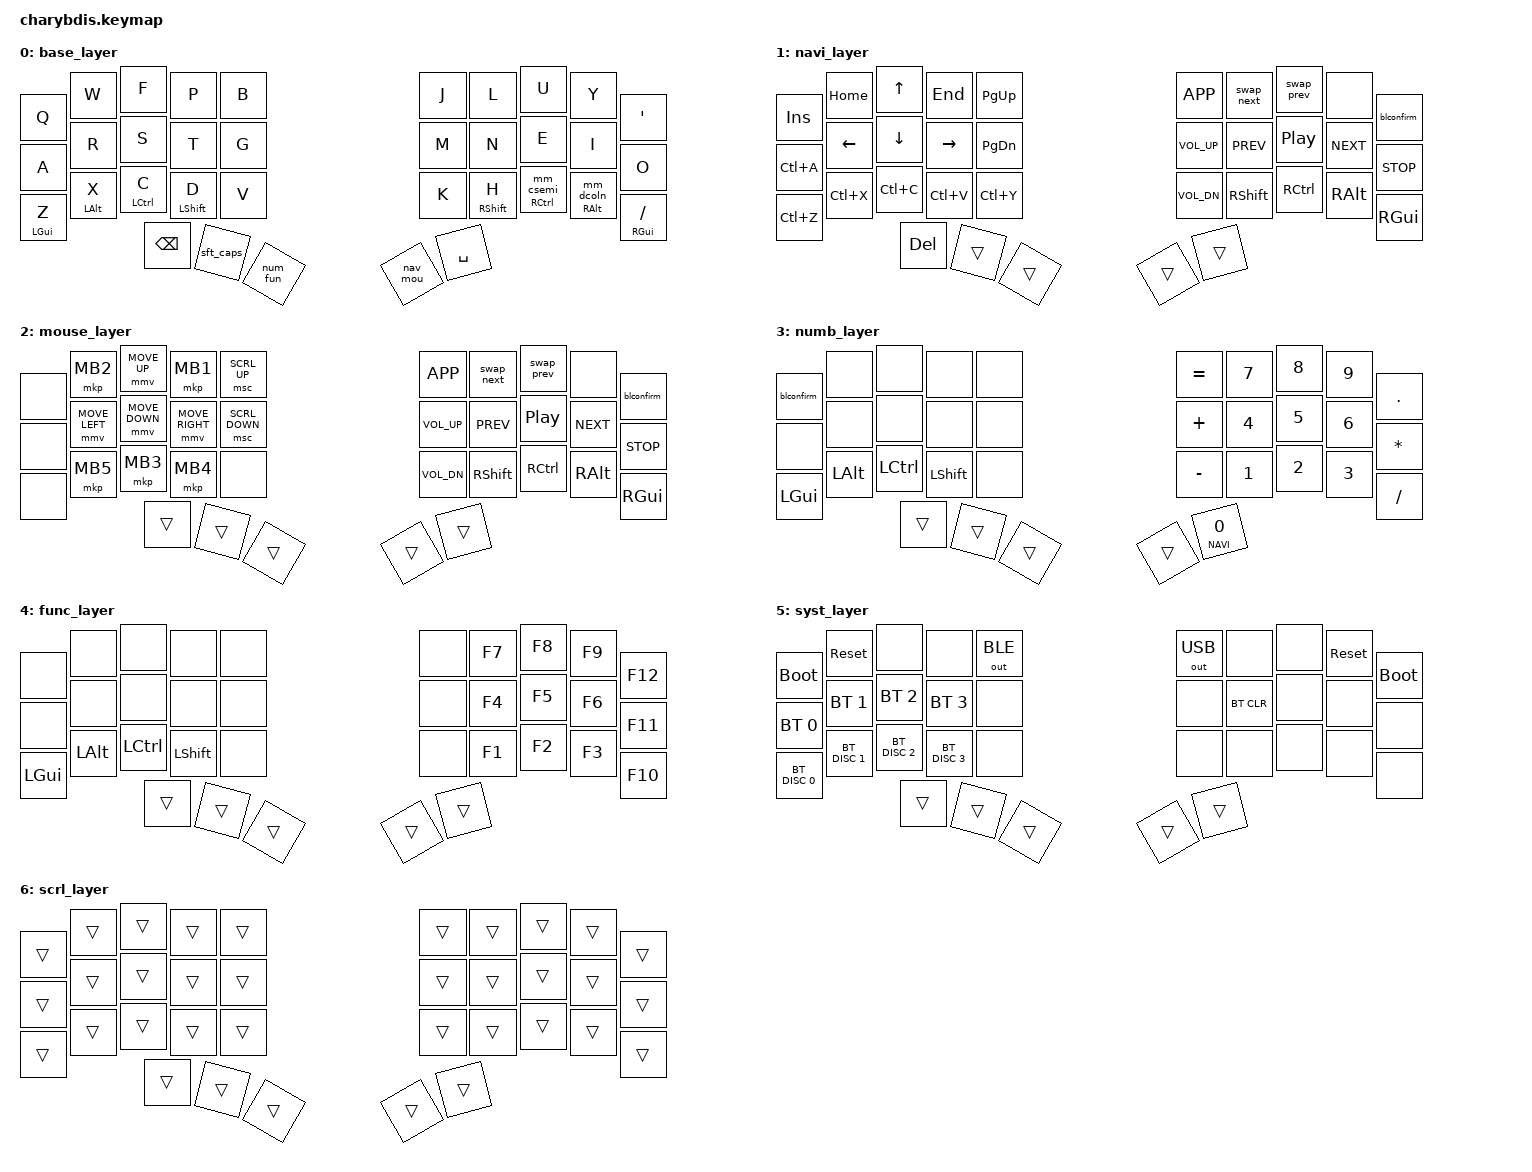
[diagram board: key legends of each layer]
/*
 * Copyright (c) 2020 The ZMK Contributors
 *
 * SPDX-License-Identifier: MIT
 */
#define ZMK_POINTING_DEFAULT_MOVE_VAL 1200
#define ZMK_POINTING_DEFAULT_SCRL_VAL 15
#include <behaviors.dtsi>
#include <dt-bindings/zmk/keys.h>
#include <dt-bindings/zmk/bt.h>
#include <dt-bindings/zmk/ext_power.h>
#include <dt-bindings/zmk/mouse.h>
#include <dt-bindings/zmk/outputs.h>
#include <input/processors.dtsi>
#include <dt-bindings/zmk/pointing.h>
#include <dt-bindings/zmk/input_transform.h>

#define BASE 0
#define NAVI 1
#define MOUS 2
#define NUMB 3
#define FUNC 4
#define SYST 5
#define SCRL 6
#define MOD_MORPH(NAME, NORMAL, MODDED, MODS) \
  mm_##NAME: NAME { \
    compatible = "zmk,behavior-mod-morph"; \
    #binding-cells = <0>; \
    bindings = <&kp NORMAL>, <&kp MODDED>; \
    mods = <MODS>; \
  };

&caps_word { continue-list = <UNDERSCORE MINUS>; };
&sk { release-after-ms = <750>; };
&lt {
    tapping-term-ms = <150>;
    flavor = "tap-preferred";
};
&mmv {
    x-input-code = <INPUT_REL_X>;
    y-input-code = <INPUT_REL_Y>;
    time-to-max-speed-ms = <500>;
    acceleration-exponent = <2>;
};

/ {
    trackball_listener {
        compatible = "zmk,input-listener";
        device = <&trackball>;
        snipe {
            layers = <2>;
            input-processors = <&zip_xy_scaler 1 3>;
        };
        scroll {
            layers = <6>;
            input-processors = 
                <&zip_xy_transform INPUT_TRANSFORM_Y_INVERT>,
                <&zip_xy_scaler 1 3>,
                <&zip_xy_to_scroll_mapper>;
        };
    };

    behaviors {
        skq: sticky_key_quick_release {
            compatible = "zmk,behavior-sticky-key";
            #binding-cells = <1>;
            bindings = <&kp>;
            release-after-ms = <500>;
            quick-release;
            ignore-modifiers;
        };
        hml: homerow_modsl {
            compatible = "zmk,behavior-hold-tap";
            #binding-cells = <2>;
            bindings = <&kp>, <&kp>;
            flavor = "balanced";
            tapping-term-ms = <200>;
            quick-tap-ms = <150>;
            require-prior-idle-ms = <175>;
            hold-trigger-key-positions = <5 6 7 8 9 15 16 17 18 19 25 26 27 28 29>;
            hold-trigger-on-release;
        };
        hmr: homerow_modsr {
            compatible = "zmk,behavior-hold-tap";
            #binding-cells = <2>;
            bindings = <&kp>, <&kp>;
            flavor = "balanced";
            tapping-term-ms = <200>;
            quick-tap-ms = <150>;
            require-prior-idle-ms = <175>;
            hold-trigger-key-positions = <0 1 2 3 4 10 11 12 13 14 20 21 22 23 24>;
            hold-trigger-on-release;
        };
        sft_caps: shift_capsword {
            compatible = "zmk,behavior-tap-dance";
            #binding-cells = <0>;
            tapping-term-ms = <175>;
            bindings = <&skq LSHIFT>, <&caps_word>;
        };
        MOD_MORPH(csemi, COMMA, SEMI, (MOD_LSFT|MOD_RSFT))
        MOD_MORPH(dcoln, DOT, COLON, (MOD_LSFT|MOD_RSFT))
        MOD_MORPH(lparlt, LPAR, LT, (MOD_LSFT|MOD_RSFT))
        MOD_MORPH(rpargt, RPAR, GT, (MOD_LSFT|MOD_RSFT))
        hmr_c: homerowmod_commasemi {
            compatible = "zmk,behavior-hold-tap";
            #binding-cells = <2>;
            bindings = <&kp>, <&mm_csemi>;
            flavor = "balanced";
            tapping-term-ms = <200>;
            quick-tap-ms = <150>;
            require-prior-idle-ms = <175>;
            hold-trigger-key-positions = <0 1 2 3 4 10 11 12 13 14 20 21 22 23 24>;
            hold-trigger-on-release;
        };
        hmr_d: homerowmod_dotcolon {
            compatible = "zmk,behavior-hold-tap";
            #binding-cells = <2>;
            bindings = <&kp>, <&mm_dcoln>;
            flavor = "balanced";
            tapping-term-ms = <200>;
            quick-tap-ms = <150>;
            require-prior-idle-ms = <175>;
            hold-trigger-key-positions = <0 1 2 3 4 10 11 12 13 14 20 21 22 23 24>;
            hold-trigger-on-release;
        };
        swap_next: swap_next {
            compatible = "zmk,behavior-tri-state";
            #binding-cells = <0>;
            bindings = <&kt LALT>, <&kp TAB>, <&kt LALT>;
            timeout-ms = <1500>;
        };
        swap_prev: swap_prev {
            compatible = "zmk,behavior-tri-state";
            #binding-cells = <0>;
            bindings = <&kt LALT>, <&kp LS(TAB)>, <&kt LALT>;
            timeout-ms = <1500>;
        };
        num_fun: num_function {
            compatible = "zmk,behavior-tap-dance";
            #binding-cells = <0>;
            tapping-term-ms = <250>;
            bindings = <&mo NUMB>, <&mo FUNC>;
        };
        nav_mou: navi_mouse {
            compatible = "zmk,behavior-tap-dance";
            #binding-cells = <0>;
            tapping-term-ms = <250>;
            bindings = <&mo NAVI>, <&mo MOUS>;
        };
        blconfirm: bootloader_confirmation {
            compatible = "zmk,behavior-tap-dance";
            #binding-cells = <0>;
            tapping-term-ms = <250>;
            bindings = <&none>, <&bootloader>;
        };
    };

    combos {
        #include "combos.overlay"
    };

    conditional_layers {
        compatible = "zmk,conditional-layers";
        tri_layer {
            if-layers = <NAVI NUMB>;
            then-layer = <SYST>;
        };
    };

    chosen {
        zmk,matrix_transform = &five_column_transform;
    };

    keymap {
        compatible = "zmk,keymap";
        base_layer {
            bindings = <
  &kp Q        &kp W        &kp F         &kp P          &kp B       &kp J     &kp L          &kp U           &kp Y          &kp SQT
  &kp A        &kp R        &kp S         &kp T          &kp G       &kp M     &kp N          &kp E           &kp I          &kp O
  &hml LGUI Z  &hml LALT X  &hml LCTRL C  &hml LSHIFT D  &kp V       &kp K     &hmr RSHIFT H  &hmr_c RCTRL 0  &hmr_d RALT 0  &hmr RGUI FSLH
                            &kp BSPC      &sft_caps      &num_fun    &nav_mou  &kp SPACE
            >;
        };
        navi_layer {
            bindings = <
  &kp INS    &kp HOME   &kp UP     &kp END    &kp PG_UP    &kp K_APP     &swap_next  &swap_prev  &none       &blconfirm
  &kp LC(A)  &kp LEFT   &kp DOWN   &kp RIGHT  &kp PG_DN    &kp C_VOL_UP  &kp C_PREV  &kp C_PP    &kp C_NEXT  &kp C_STOP
  &kp LC(Z)  &kp LC(X)  &kp LC(C)  &kp LC(V)  &kp LC(Y)    &kp C_VOL_DN  &kp RSHIFT  &kp RCTRL   &kp RALT    &kp RGUI
                        &kp DEL    &trans     &trans       &trans        &trans
            >;
        };
        mouse_layer {
            bindings = <
  &none  &mkp MB2        &mmv MOVE_UP    &mkp MB1         &msc SCRL_UP      &kp K_APP     &swap_next  &swap_prev  &none       &blconfirm
  &none  &mmv MOVE_LEFT  &mmv MOVE_DOWN  &mmv MOVE_RIGHT  &msc SCRL_DOWN    &kp C_VOL_UP  &kp C_PREV  &kp C_PP    &kp C_NEXT  &kp C_STOP
  &none  &mkp MB5        &mkp MB3        &mkp MB4         &none             &kp C_VOL_DN  &kp RSHIFT  &kp RCTRL   &kp RALT    &kp RGUI
                         &trans          &trans           &trans            &trans        &trans
            >;
        };
        numb_layer {
            bindings = <
  &blconfirm  &none     &none      &none       &none     &kp EQUAL  &kp N7       &kp N8  &kp N9  &kp DOT
  &none       &none     &none      &none       &none     &kp PLUS   &kp N4       &kp N5  &kp N6  &kp ASTRK
  &kp LGUI    &kp LALT  &kp LCTRL  &kp LSHIFT  &none     &kp MINUS  &kp N1       &kp N2  &kp N3  &kp FSLH
                        &trans     &trans      &trans    &trans     &lt NAVI N0
            >;
        };
        func_layer {
            bindings = <
  &none     &none     &none      &none       &none     &none   &kp F7  &kp F8  &kp F9  &kp F12
  &none     &none     &none      &none       &none     &none   &kp F4  &kp F5  &kp F6  &kp F11
  &kp LGUI  &kp LALT  &kp LCTRL  &kp LSHIFT  &none     &none   &kp F1  &kp F2  &kp F3  &kp F10
                      &trans     &trans      &trans    &trans  &trans
            >;
        };
        syst_layer {
            bindings = <
  &bootloader    &sys_reset     &none          &none          &out OUT_BLE    &out OUT_USB  &none       &none  &sys_reset  &bootloader
  &bt BT_SEL 0   &bt BT_SEL 1   &bt BT_SEL 2   &bt BT_SEL 3   &none           &none         &bt BT_CLR  &none  &none       &none
  &bt BT_DISC 0  &bt BT_DISC 1  &bt BT_DISC 2  &bt BT_DISC 3  &none           &none         &none       &none  &none       &none
                                &trans         &trans         &trans          &trans        &trans
            >;
        };
        scrl_layer {
            bindings = <
  &trans  &trans  &trans  &trans  &trans    &trans  &trans  &trans  &trans  &trans
  &trans  &trans  &trans  &trans  &trans    &trans  &trans  &trans  &trans  &trans
  &trans  &trans  &trans  &trans  &trans    &trans  &trans  &trans  &trans  &trans
                  &trans  &trans  &trans    &trans  &trans
            >;
        };
    };
};
